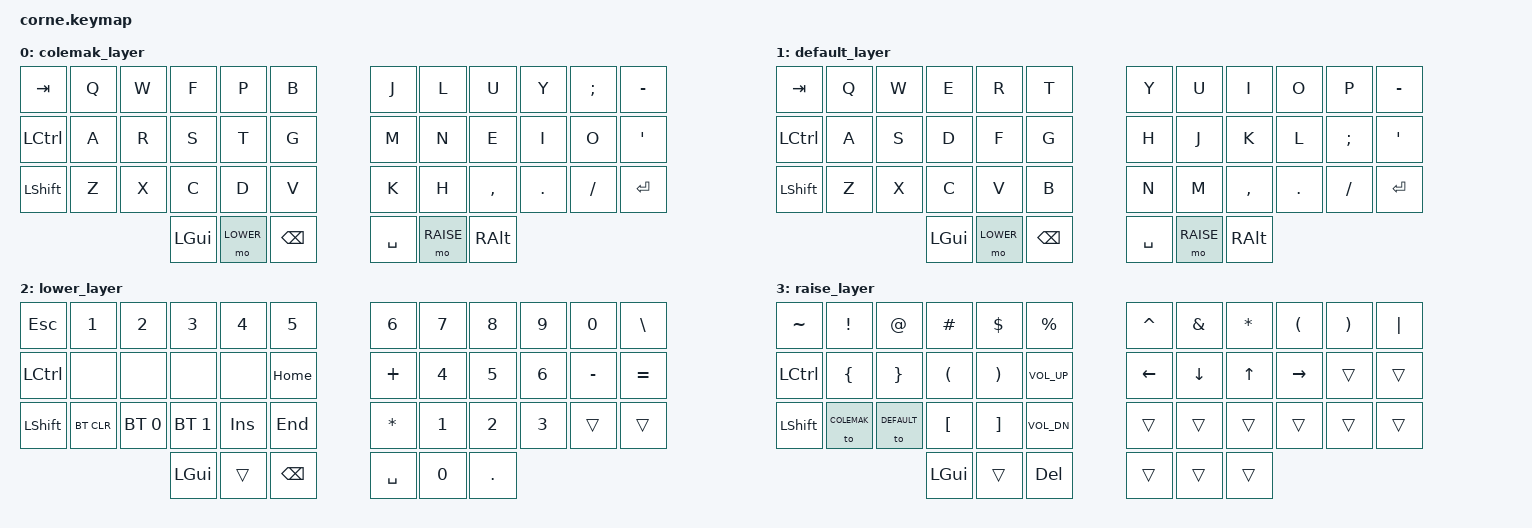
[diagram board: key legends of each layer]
/*
 * Copyright (c) 2020 The ZMK Contributors
 *
 * SPDX-License-Identifier: MIT
 */

#include <behaviors.dtsi>
#include <dt-bindings/zmk/keys.h>
#include <dt-bindings/zmk/bt.h>

#define DEFAULT 0
#define COLEMAK 1
#define LOWER   2
#define RAISE   3
// #define ADJUST  4


/ {
        keymap {
                compatible = "zmk,keymap";

                colemak_layer {
// -----------------------------------------------------------------------------------------
// |    TAB   |     Q   |     W    |     F    |     P    |     B    |           |    J     |    L     |    U     |    Y     |    ;     |    -     |
// |    CTRL  |     A   |     R    |     S    |     T    |     G    |           |    M     |    N     |    E     |    I     |    O     |    "     |
// |   SHIFT  |     Z   |     X    |     C    |     D    |     V    |           |    K     |    H     |    ,     |    .     |    /     |  ENTER   |
//                                 |    GUI   |    LWR   |   BKSP   |           |   SPC    |   RSE    |   ALT    |
                        bindings = <
   &kp TAB    &kp Q     &kp W      &kp F      &kp P      &kp B                  &kp J      &kp L      &kp U      &kp Y      &kp SEMI   &kp MINUS
   &kp LCTRL  &kp A     &kp R      &kp S      &kp T      &kp G                  &kp M      &kp N      &kp E      &kp I      &kp O      &kp SQT
   &kp LSHFT  &kp Z     &kp X      &kp C      &kp D      &kp V                  &kp K      &kp H      &kp COMMA  &kp DOT    &kp FSLH   &kp RET
                                   &kp LGUI   &mo LOWER  &kp BSPC               &kp SPACE  &mo RAISE  &kp RALT
                        >;
                };

                default_layer {
// -----------------------------------------------------------------------------------------
// |    TAB    |     Q    |     W    |     E    |     R    |     T    |         |    Y     |    U     |    I     |    O     |    P     |    -     |
// |    CTRL   |     A    |     S    |     D    |     F    |     G    |         |    H     |    J     |    K     |    L     |    ;     |    '     |
// |   SHIFT   |     Z    |     X    |     C    |     V    |     B    |         |    N     |    M     |    ,     |    .     |    /     |  ENTER   |
//                                   |   GUI    |   LWR    |    BKSP  |         |   SPC    |   RSE    |   ALT    |
                        bindings = <
   &kp TAB     &kp Q      &kp W      &kp E      &kp R      &kp T                &kp Y      &kp U      &kp I      &kp O      &kp P      &kp MINUS
   &kp LCTRL   &kp A      &kp S      &kp D      &kp F      &kp G                &kp H      &kp J      &kp K      &kp L      &kp SEMI   &kp SQT
   &kp LSHFT   &kp Z      &kp X      &kp C      &kp V      &kp B                &kp N      &kp M      &kp COMMA  &kp DOT    &kp FSLH   &kp RET
                                     &kp LGUI   &mo LOWER  &kp BSPC             &kp SPACE  &mo RAISE  &kp RALT
                        >;
                };


                lower_layer {
// -----------------------------------------------------------------------------------------
// |    ESC   |     1    |     2    |     3    |     4    |     5    |           |    6     |    7     |    8     |    9     |    0     |    \     |
// |   CTRL   |          |          |          |          |   HOME   |           |    +     |    4     |    5     |    6     |    -     |    =     |
// |   SHIFT  |   BTCLR  |    BT1   |    BT2   |    INS   |    END   |           |    *     |    1     |    2     |    3     |    /     |          |
//                                  |   c+a+d  |    LWR   |    BKSP  |           |   SPC    |    0     |    .     |
                        bindings = <
   &kp ESC    &kp N1     &kp N2       &kp N3       &kp N4  &kp N5                &kp N6     &kp N7     &kp N8     &kp N9     &kp N0     &kp BSLH
   &kp LCTRL  &none      &none        &none        &none   &kp HOME              &kp PLUS   &kp N4     &kp N5     &kp N6     &kp MINUS  &kp EQUAL
   &kp LSHFT  &bt BT_CLR &bt BT_SEL 0 &bt BT_SEL 1 &kp INS &kp END               &kp STAR   &kp N1     &kp N2     &kp N3     &trans     &trans 
                                      &kp LGUI     &trans  &kp BSPC              &kp SPACE  &kp N0     &kp DOT
                        >;
                };

                raise_layer {
// -----------------------------------------------------------------------------------------
// |     ~    |     !    |     @    |     #    |     $    |     %    |             |    ^     |    &     |    *     |    (     |    )     |    |     |
// |    CTRL  |     {    |     }    |     (    |     )    |   vol +  |             |   LEFT   |   DOWN   |    UP    |  RIGHT   |          |          |
// |   SHIFT  |  colemak |  qwerty  |     [    |     ]    |   vol -  |             |          |          |          |          |          |          |
//                                  |    GUI   |    ADJ   |    DEL   |             |   SPC    |   RSE    |   ALT    |
                        bindings = <
   &kp TILDE  &kp EXCL   &kp AT     &kp HASH   &kp DLLR   &kp PRCNT                &kp CARET  &kp AMPS   &kp STAR   &kp LPAR   &kp RPAR   &kp PIPE
   &kp LCTRL  &kp LBRC   &kp RBRC   &kp LPAR   &kp RPAR   &kp C_VOL_UP             &kp LEFT   &kp DOWN   &kp UP     &kp RIGHT  &trans     &trans
   &kp LSHFT  &to COLEMAK &to DEFAULT &kp LBKT &kp RBKT   &kp C_VOL_DN             &trans     &trans     &trans     &trans     &trans     &trans 
                    	            &kp LGUI   &trans     &kp DEL                  &trans     &trans     &trans
                        >;
                };

//                adjust_layer {
// -----------------------------------------------------------------------------------------
// -----------------------------------------------------------------------------------------
// |   F1  |   F2  |   F3  |   F4  |   F5  |   F6  |  |  F7   |  F8   |  F9   |  F10  |  F11  |  F12  |
// |       |       |       |       |       |       |  |colmak |qwerty |       |       |      |      |
// | SHIFT | BTCLR |  BT1  | BT2   |  BT3  |      |  |      |      |      |      |reset |btload|
//                      | trans| trans| trans|  |trans |trans |trans |
//                        bindings = <
//   &kp F1    &kp F2     &kp F3       &kp F4       &kp F5       &kp F6        &kp F7      &kp F8      &kp F9    &kp F10   &kp F11   &kp F12    
//   &none     &none      &none        &none        &none        &none         &to COLEMAK &to DEFAULT &none     &none     &none     &none     
//   &none     &bt BT_CLR &bt BT_SEL 0 &bt BT_SEL 1 &bt BT_SEL 2 &none         &none       &none       &none     &none     &reset    &bootloader     
//                                     &trans       &trans       &trans        &trans      &trans      &trans
//                        >;
//                };

        };
};
